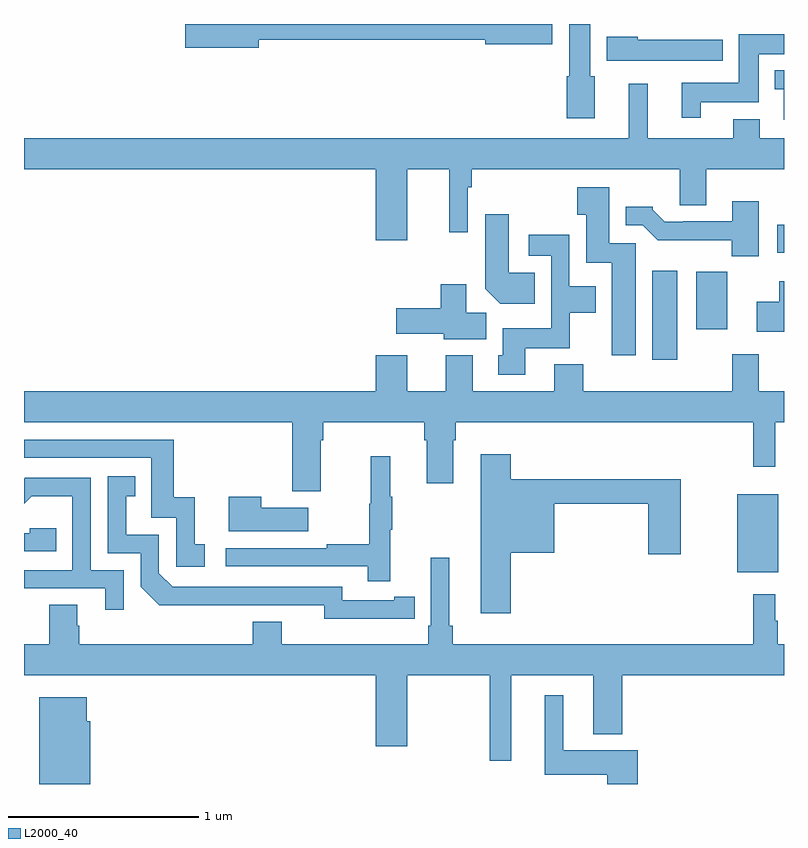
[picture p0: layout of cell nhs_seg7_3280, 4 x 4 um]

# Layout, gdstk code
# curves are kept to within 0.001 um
import gdstk
lib = gdstk.Library(unit=1e-6, precision=1e-09)
def R(c, l, rs):  # rectangles x0, y0, x1, y1
    for r in rs: c.add(gdstk.rectangle(r[:2], r[2:], *l))
def P(c, l, *ps):  # polygons
    for p in ps: c.add(gdstk.Polygon(p, *l))
L2000_40 = (2000, 40)

nhs_seg7_3280 = lib.new_cell('nhs_seg7_3280')
R(nhs_seg7_3280, L2000_40, [(322.754,1045.115,322.969,1045.525), (322.307,1046.232,322.438,1046.701), (322.964,1046.795,323,1046.943)])
P(nhs_seg7_3280, L2000_40, [(322.003,1047.726),(321.979,1047.726),(321.979,1048),(321.869,1048),(321.869,1047.726),(321.857,1047.726),(321.857,1047.504),(322.003,1047.504)],
  [(320.236,1047.916),(321.428,1047.916),(321.428,1047.893),(321.781,1047.893),(321.781,1048),(319.848,1048),(319.848,1047.874),(320.236,1047.874)],
  [(322.561,1047.587),(322.867,1047.587),(322.867,1047.842),(323,1047.842),(323,1047.946),(322.763,1047.946),(322.763,1047.691),(322.463,1047.691),(322.463,1047.507),(322.561,1047.507)],
  [(322.678,1047.916),(322.23,1047.916),(322.23,1047.934),(322.068,1047.934),(322.068,1047.806),(322.678,1047.806)],
  [(323,1047.757),(322.952,1047.757),(322.952,1047.657),(322.998,1047.657),(322.998,1047.495),(323,1047.495)],
  [(321.016,1047.236),(321.238,1047.236),(321.238,1046.904),(321.336,1046.904),(321.336,1047.14),(321.356,1047.14),(321.356,1047.236),(322.451,1047.236),(322.451,1047.046),(322.591,1047.046),(322.591,1047.236),(323,1047.236),(323,1047.4),(322.873,1047.4),(322.873,1047.499),(322.733,1047.499),(322.733,1047.4),(322.283,1047.4),(322.283,1047.685),(322.184,1047.685),(322.184,1047.4),(319,1047.4),(319,1047.236),(320.852,1047.236),(320.852,1046.862),(321.016,1046.862)],
  [(322.219,1046.847),(322.081,1046.847),(322.081,1047.142),(321.913,1047.142),(321.913,1046.995),(321.959,1046.995),(321.959,1046.744),(322.094,1046.744),(322.094,1046.256),(322.219,1046.256)],
  [(322.867,1047.067),(322.727,1047.067),(322.727,1046.961),(322.471,1046.961),(322.471,1046.958),(322.372,1046.958),(322.308,1047.022),(322.308,1047.037),(322.166,1047.037),(322.166,1046.94),(322.257,1046.94),(322.336,1046.862),(322.725,1046.862),(322.725,1046.777),(322.867,1046.777)],
  [(321.689,1046.692),(321.55,1046.692),(321.55,1046.998),(321.428,1046.998),(321.428,1046.606),(321.506,1046.528),(321.689,1046.528)],
  [(321.637,1046.294),(321.873,1046.294),(321.873,1046.48),(322.009,1046.48),(322.009,1046.62),(321.87,1046.62),(321.87,1046.89),(321.657,1046.89),(321.657,1046.781),(321.774,1046.781),(321.774,1046.398),(321.521,1046.398),(321.521,1046.256),(321.497,1046.256),(321.497,1046.154),(321.637,1046.154)],
  [(322.702,1046.535),(322.7,1046.535),(322.7,1046.695),(322.538,1046.695),(322.538,1046.394),(322.702,1046.394)],
  [(323,1046.647),(322.976,1046.647),(322.976,1046.539),(322.857,1046.539),(322.857,1046.381),(323,1046.381)],
  [(321.433,1046.48),(321.328,1046.48),(321.328,1046.629),(321.194,1046.629),(321.194,1046.504),(320.958,1046.504),(320.958,1046.369),(321.21,1046.369),(321.21,1046.342),(321.433,1046.342)],
  [(320.563,1045.808),(320.576,1045.808),(320.576,1045.904),(321.107,1045.904),(321.107,1045.808),(321.119,1045.808),(321.119,1045.584),(321.259,1045.584),(321.259,1045.808),(321.272,1045.808),(321.272,1045.904),(322.837,1045.904),(322.837,1045.671),(322.955,1045.671),(322.955,1045.904),(323,1045.904),(323,1046.068),(322.867,1046.068),(322.867,1046.263),(322.727,1046.263),(322.727,1046.068),(321.944,1046.068),(321.944,1046.209),(321.791,1046.209),(321.791,1046.068),(321.361,1046.068),(321.361,1046.257),(321.221,1046.257),(321.221,1046.068),(321.016,1046.068),(321.016,1046.257),(320.852,1046.257),(320.852,1046.068),(319,1046.068),(319,1045.904),(320.411,1045.904),(320.411,1045.542),(320.563,1045.542)],
  [(319.951,1045.263),(319.898,1045.263),(319.898,1045.51),(319.787,1045.51),(319.787,1045.812),(319,1045.812),(319,1045.716),(319.671,1045.716),(319.671,1045.401),(319.8,1045.401),(319.8,1045.143),(319.951,1045.143)],
  [(321.563,1045.217),(321.79,1045.217),(321.79,1045.474),(322.286,1045.474),(322.286,1045.209),(322.456,1045.209),(322.456,1045.603),(321.563,1045.603),(321.563,1045.735),(321.404,1045.735),(321.404,1044.9),(321.563,1044.9)],
  [(320.927,1045.339),(320.938,1045.339),(320.938,1045.513),(320.927,1045.513),(320.927,1045.726),(320.824,1045.726),(320.824,1045.476),(320.817,1045.476),(320.817,1045.262),(320.593,1045.262),(320.593,1045.242),(320.061,1045.242),(320.061,1045.146),(320.809,1045.146),(320.809,1045.068),(320.927,1045.068)],
  [(320.948,1044.87),(321.056,1044.87),(321.056,1044.986),(320.948,1044.986),(320.948,1044.966),(320.676,1044.966),(320.676,1045.038),(319.782,1045.038),(319.71,1045.11),(319.71,1045.311),(319.537,1045.311),(319.537,1045.515),(319.586,1045.515),(319.586,1045.621),(319.44,1045.621),(319.44,1045.215),(319.614,1045.215),(319.614,1045.038),(319.712,1044.941),(320.58,1044.942),(320.58,1044.869)],
  [(319.524,1045.125),(319.35,1045.125),(319.35,1045.611),(319.004,1045.611),(319,1045.607),(319,1045.474),(319.04,1045.514),(319.254,1045.514),(319.254,1045.125),(319,1045.125),(319,1045.029),(319.427,1045.029),(319.427,1044.918),(319.524,1044.918)],
  [(320.497,1045.453),(320.249,1045.453),(320.249,1045.513),(320.078,1045.513),(320.078,1045.331),(320.497,1045.331)],
  [(319.169,1045.347),(319.029,1045.347),(319.029,1045.32),(319,1045.32),(319,1045.224),(319.169,1045.224)],
  [(321.565,1044.572),(321.995,1044.572),(321.995,1044.263),(322.148,1044.263),(322.148,1044.572),(323,1044.572),(323,1044.736),(322.966,1044.736),(322.966,1044.86),(322.954,1044.86),(322.954,1045),(322.837,1045),(322.837,1044.736),(321.257,1044.736),(321.257,1044.832),(321.238,1044.832),(321.238,1045.192),(321.141,1045.192),(321.141,1044.832),(321.128,1044.832),(321.128,1044.736),(320.356,1044.736),(320.356,1044.853),(320.204,1044.853),(320.204,1044.736),(319.292,1044.736),(319.292,1044.834),(319.279,1044.834),(319.279,1044.944),(319.132,1044.944),(319.132,1044.736),(319,1044.736),(319,1044.572),(320.852,1044.572),(320.852,1044.198),(321.016,1044.198),(321.016,1044.572),(321.451,1044.572),(321.451,1044.123),(321.565,1044.123)],
  [(322.229,1044.178),(321.838,1044.178),(321.838,1044.466),(321.74,1044.466),(321.74,1044.05),(322.07,1044.05),(322.07,1044),(322.229,1044)],
  [(319.348,1044.33),(319.33,1044.33),(319.33,1044.457),(319.079,1044.457),(319.079,1044),(319.348,1044)])

lib.write_gds('nhs_seg7_3280.gds')
